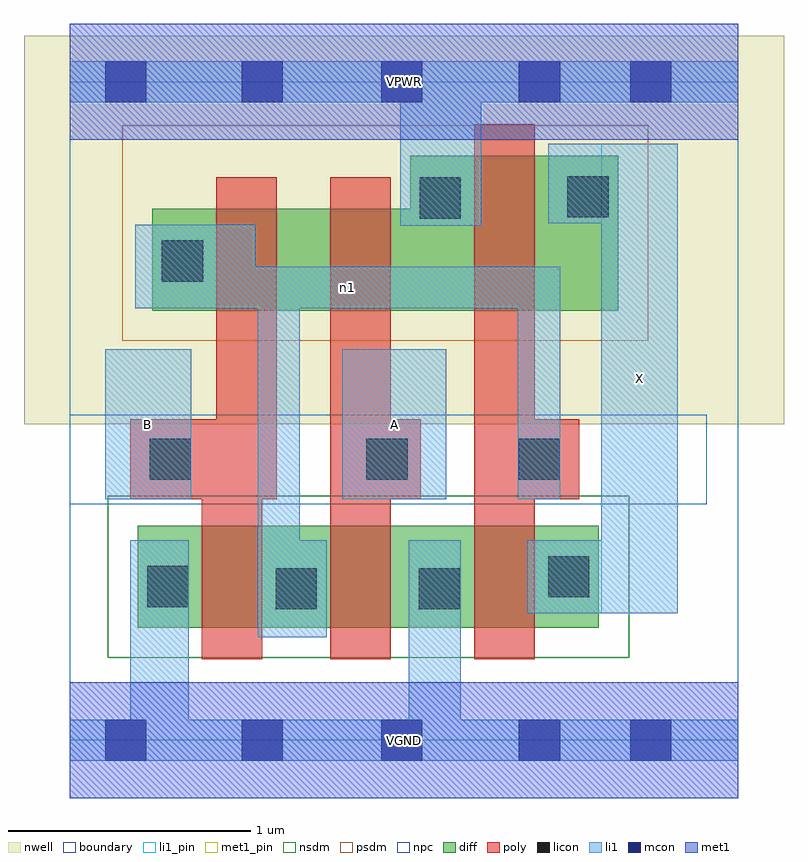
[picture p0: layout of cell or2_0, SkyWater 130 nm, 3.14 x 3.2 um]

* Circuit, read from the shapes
.subckt or2_0 A B VGND VPWR X n1
XM1 n1 B VGND VSUBS sky130_fd_pr__nfet_01v8 w=0.42 l=0.25
XM2 VGND A n1 VSUBS sky130_fd_pr__nfet_01v8 w=0.42 l=0.25
XM3 X n1 VGND VSUBS sky130_fd_pr__nfet_01v8 w=0.42 l=0.25
XM4 n2 B n1 n3 sky130_fd_pr__pfet_01v8 w=0.42 l=0.25
XM5 VPWR A n2 n3 sky130_fd_pr__pfet_01v8 w=0.42 l=0.25
XM6 X n1 VPWR n3 sky130_fd_pr__pfet_01v8 w=0.64 l=0.25
.ends

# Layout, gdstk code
import gdstk
lib = gdstk.Library(unit=1e-6, precision=1e-09)
def R(c, l, rs):  # rectangles x0, y0, x1, y1
    for r in rs: c.add(gdstk.rectangle(r[:2], r[2:], *l))
nwell = (64, 20)
diff = (65, 20)
poly = (66, 20)
licon = (66, 44)
li1_pin = (67, 16)
li1 = (67, 20)
mcon = (67, 44)
met1_pin = (68, 16)
met1 = (68, 20)
nsdm = (93, 44)
psdm = (94, 20)
npc = (95, 20)
boundary = (235, 4)

or2_0 = lib.new_cell('or2_0')
R(or2_0, nwell, [(-0.19,1.305,2.95,2.91), (0,1.305,2.76,2.91)])
R(or2_0, diff, [(0.28,0.465,2.185,0.885), (0.34,1.775,2.265,2.195), (1.405,1.775,2.265,2.415)])
R(or2_0, poly, [(0.545,0.335,0.795,1.325), (1.075,0.335,1.325,2.325), (1.67,0.335,1.92,2.545), (0.25,0.995,0.855,1.325), (0.605,0.995,0.855,2.325), (1.075,0.995,1.45,1.325), (1.67,0.995,2.105,1.325)])
R(or2_0, licon, [(0.85,0.54,1.02,0.71), (1.44,0.54,1.61,0.71), (0.32,0.55,0.49,0.72), (1.975,0.59,2.145,0.76), (0.33,1.075,0.5,1.245), (1.225,1.075,1.395,1.245), (1.855,1.075,2.025,1.245), (0.38,1.895,0.55,2.065), (1.445,2.155,1.615,2.325), (2.055,2.16,2.225,2.33)])
R(or2_0, li1_pin, [(2.195,0.525,2.51,2.465), (0.145,0.995,0.5,1.615), (1.125,0.995,1.555,1.615)])
R(or2_0, li1, [(0,-0.085,2.76,0.085), (0.25,-0.085,0.49,0.825), (1.4,-0.085,1.615,0.825), (0.775,0.425,0.95,1.955), (0.775,0.425,1.06,0.825), (1.89,0.525,2.51,0.825), (2.195,0.525,2.51,2.465), (0.145,0.995,0.5,1.615), (1.125,0.995,1.555,1.615), (1.85,0.995,2.025,1.955), (0.27,1.785,2.025,1.955), (0.27,1.785,0.765,2.13), (1.365,2.125,1.7,2.805), (1.975,2.135,2.51,2.465), (0,2.635,2.76,2.805)])
R(or2_0, mcon, [(0.145,-0.085,0.315,0.085), (0.71,-0.085,0.88,0.085), (1.285,-0.085,1.455,0.085), (1.855,-0.085,2.025,0.085), (2.315,-0.085,2.485,0.085), (0.145,2.635,0.315,2.805), (0.71,2.635,0.88,2.805), (1.285,2.635,1.455,2.805), (1.855,2.635,2.025,2.805), (2.315,2.635,2.485,2.805)])
R(or2_0, met1_pin, [(0,-0.24,2.76,0.24), (0,2.48,2.76,2.96)])
R(or2_0, met1, [(0,-0.24,2.76,0.24), (0,2.48,2.76,2.96)])
R(or2_0, nsdm, [(0.155,0.34,2.31,1.01)])
R(or2_0, psdm, [(0.215,1.65,2.39,2.54)])
R(or2_0, npc, [(0,0.975,2.63,1.345)])
R(or2_0, boundary, [(0,0,2.76,2.72)])
or2_0.add(gdstk.Label('A', (1.34,1.305), layer=67, texttype=5))
or2_0.add(gdstk.Label('B', (0.322,1.305), layer=67, texttype=5))
or2_0.add(gdstk.Label('X', (2.352,1.495), layer=67, texttype=5))
or2_0.add(gdstk.Label('n1', (1.147,1.87), layer=67, texttype=5))
or2_0.add(gdstk.Label('VPWR', (1.38,2.72), layer=68, texttype=5))
or2_0.add(gdstk.Label('VGND', (1.38,0), layer=68, texttype=5))
or2_0.add(gdstk.Label('A', (1.34,1.305), layer=67, texttype=16))
or2_0.add(gdstk.Label('B', (0.322,1.305), layer=67, texttype=16))
or2_0.add(gdstk.Label('X', (2.352,1.495), layer=67, texttype=16))
or2_0.add(gdstk.Label('VPWR', (1.38,2.72), layer=68, texttype=16))
or2_0.add(gdstk.Label('VGND', (1.38,0), layer=68, texttype=16))

lib.write_gds('or2_0.gds')
